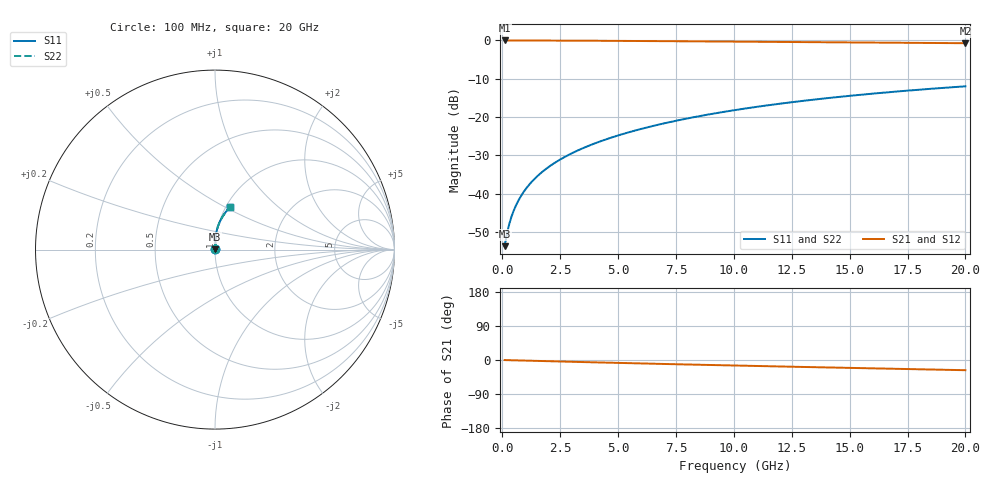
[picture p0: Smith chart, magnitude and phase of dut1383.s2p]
! Touchstone file exported from HFSS 2024.1.0
!  File:  C:/UserFiles/LocalFiles/RDL_TSV_Batchsim/temp_RDL_top_1383_1780367417.aedt
!  Generated:  10:32:24 AM Jun  2, 2026
!  Design:  RDL_top
!  Project:  temp_RDL_top_1383_1780367417
!  Setup:  Setup1
!  Solution:  Sweep
! Variables:
!  dtsv = 10.80580581um
!  hbump = 3um
!  htsv = 95.35um
!  ldown = 100um
!  lrdl = 375.71um
!  p = 40
!  p1 = 47.34um
!  rhole = 1um
!  t = 450um
!  tdown = 3.915915916um
!  trdl = 4.04um
!  wdown = 15.38538539um
!  wrdl = 22.62um
# GHz S MA R 50.000000
! Terminal data exported
! Port[1] = Box2_T1
! Port[2] = Box2_T2
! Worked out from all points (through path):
!   200 points, 100 MHz to 20 GHz, reference 50 ohm
!   highest |S21| = -0.01 dB at 100 MHz (marker M1); lowest = -0.7 dB at 20 GHz (marker M2)
!   group delay of S21, straight-line fit = 3.7 ps
!   lowest |S11| = -53.7 dB at 100 MHz (marker M3), VSWR 1.00, Z = 50.2 + j0.124 ohm
!   |S11| at or under -10 dB: start of sweep to end of sweep
!   |S22| runs from -53.7 to -12.0 dB; largest |S21 - S12| = 3.8e-15
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0.1  0.002059 36.8  0.9983 -0.2  0.9983 -0.2  0.002059 36.8
! Gamma 0 0 0 0
! Port Impedance 50 0 50 0
0.2  0.002978 54.4  0.9982 -0.3  0.9982 -0.3  0.002978 54.4
0.3  0.003999 62.8  0.9981 -0.5  0.9981 -0.5  0.004 62.8
0.4  0.005034 67.7  0.998 -0.6  0.998 -0.6  0.005034 67.7
0.5  0.00607 71.1  0.9979 -0.8  0.9979 -0.8  0.00607 71.1
0.6  0.007109 73.6  0.9978 -1.0  0.9978 -1.0  0.00711 73.6
0.8  0.009208 77.1  0.9976 -1.3  0.9976 -1.3  0.009209 77.1
1.1  0.0124 80.3  0.9972 -1.8  0.9972 -1.8  0.0124 80.3
1.3  0.01456 81.8  0.997 -2.1  0.997 -2.1  0.01456 81.8
1.6  0.01783 83.3  0.9965 -2.5  0.9965 -2.5  0.01783 83.3
2.1  0.02337 85.0  0.9955 -3.3  0.9955 -3.3  0.02337 85.0
2.7  0.03013 86.2  0.994 -4.2  0.994 -4.2  0.03013 86.2
3.5  0.03938 87.0  0.9916 -5.5  0.9916 -5.5  0.03938 87.0
4.2  0.04768 87.3  0.9892 -6.5  0.9892 -6.5  0.04768 87.3
5  0.05742 87.3  0.9861 -7.7  0.9861 -7.7  0.05741 87.3
6.8  0.08017 86.6  0.9785 -10.2  0.9785 -10.2  0.08016 86.6
8.4  0.1011 85.2  0.9714 -12.4  0.9714 -12.4  0.1011 85.2
10.1  0.1238 83.4  0.9637 -14.7  0.9637 -14.7  0.1238 83.4
11.7  0.1453 81.4  0.9565 -16.7  0.9565 -16.7  0.1453 81.4
13.4  0.168 79.2  0.9489 -18.9  0.9489 -18.9  0.1679 79.2
16.7  0.2108 74.7  0.9341 -22.9  0.9341 -22.9  0.2108 74.7
20  0.2516 70.3  0.9191 -26.9  0.9191 -26.9  0.2516 70.3
